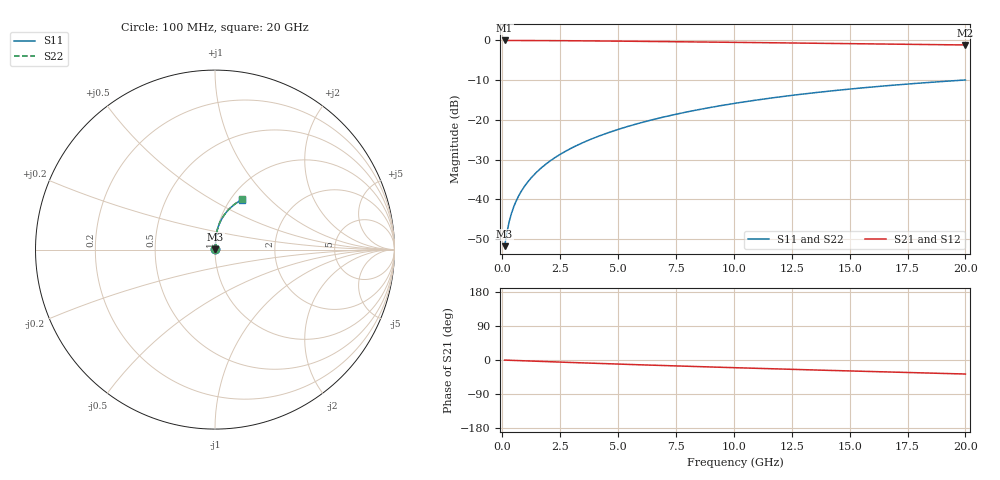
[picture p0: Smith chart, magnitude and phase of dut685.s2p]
! Touchstone file exported from HFSS 2024.1.0
!  File:  C:/UserFiles/LocalFiles/RDL_TSV_Batchsim/temp_RDL_top_685_1779782648.aedt
!  Generated:  04:05:52 PM May 26, 2026
!  Design:  RDL_top
!  Project:  temp_RDL_top_685_1779782648
!  Setup:  Setup1
!  Solution:  Sweep
! Variables:
!  dtsv = 10.80580581um
!  hbump = 3um
!  htsv = 60.95um
!  ldown = 100um
!  lrdl = 551.28um
!  p = 40
!  p1 = 46.36um
!  rhole = 1um
!  t = 450um
!  tdown = 3.915915916um
!  trdl = 5um
!  wdown = 15.38538539um
!  wrdl = 21.47um
# GHz S MA R 50.000000
! Terminal data exported
! Port[1] = Box2_T1
! Port[2] = Box2_T2
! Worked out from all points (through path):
!   200 points, 100 MHz to 20 GHz, reference 50 ohm
!   highest |S21| = -0.02 dB at 100 MHz (marker M1); lowest = -1.2 dB at 20 GHz (marker M2)
!   group delay of S21, straight-line fit = 5.08 ps
!   lowest |S11| = -51.8 dB at 100 MHz (marker M3), VSWR 1.01, Z = 50.2 + j0.164 ohm
!   |S11| at or under -10 dB: start of sweep to 19.9 GHz
!   |S22| runs from -51.8 to -9.9 dB; largest |S21 - S12| = 4.4e-15
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0.1  0.002567 39.5  0.998 -0.2  0.998 -0.2  0.002567 39.5
! Gamma 0 0 0 0
! Port Impedance 50 0 50 0
0.2  0.003841 57.2  0.9979 -0.5  0.9979 -0.5  0.003841 57.2
0.3  0.005261 65.2  0.9977 -0.7  0.9977 -0.7  0.005261 65.2
0.4  0.006696 69.5  0.9975 -0.9  0.9975 -0.9  0.006694 69.5
0.5  0.008116 72.3  0.9973 -1.1  0.9973 -1.1  0.008114 72.3
0.6  0.009523 74.3  0.9972 -1.4  0.9972 -1.4  0.00952 74.3
0.8  0.01232 77.2  0.9969 -1.8  0.9969 -1.8  0.01231 77.2
1.1  0.01652 79.9  0.9963 -2.5  0.9963 -2.5  0.01651 79.9
1.3  0.01934 81.2  0.9959 -2.9  0.9959 -2.9  0.01934 81.2
1.6  0.02362 82.5  0.9951 -3.6  0.9951 -3.6  0.02362 82.6
2.1  0.03086 84.0  0.9935 -4.7  0.9935 -4.7  0.03087 84.1
2.7  0.03974 85.0  0.9911 -6.0  0.9911 -6.0  0.03976 85.0
3.5  0.05191 85.5  0.9873 -7.7  0.9873 -7.7  0.05194 85.6
4.2  0.06285 85.6  0.9835 -9.1  0.9835 -9.1  0.0629 85.7
5  0.07568 85.3  0.9788 -10.8  0.9788 -10.8  0.07576 85.4
6.8  0.1056 83.6  0.9671 -14.3  0.9671 -14.3  0.1058 83.8
8.4  0.133 81.5  0.9562 -17.3  0.9562 -17.3  0.1332 81.6
10.1  0.1623 78.8  0.9444 -20.4  0.9444 -20.4  0.1626 78.9
11.7  0.1896 76.0  0.9333 -23.3  0.9333 -23.3  0.1901 76.2
13.4  0.218 73.0  0.9215 -26.2  0.9215 -26.2  0.2185 73.2
16.7  0.2702 67.1  0.8986 -31.7  0.8986 -31.7  0.2708 67.2
20  0.3176 61.4  0.8757 -37.0  0.8757 -37.0  0.3184 61.5
